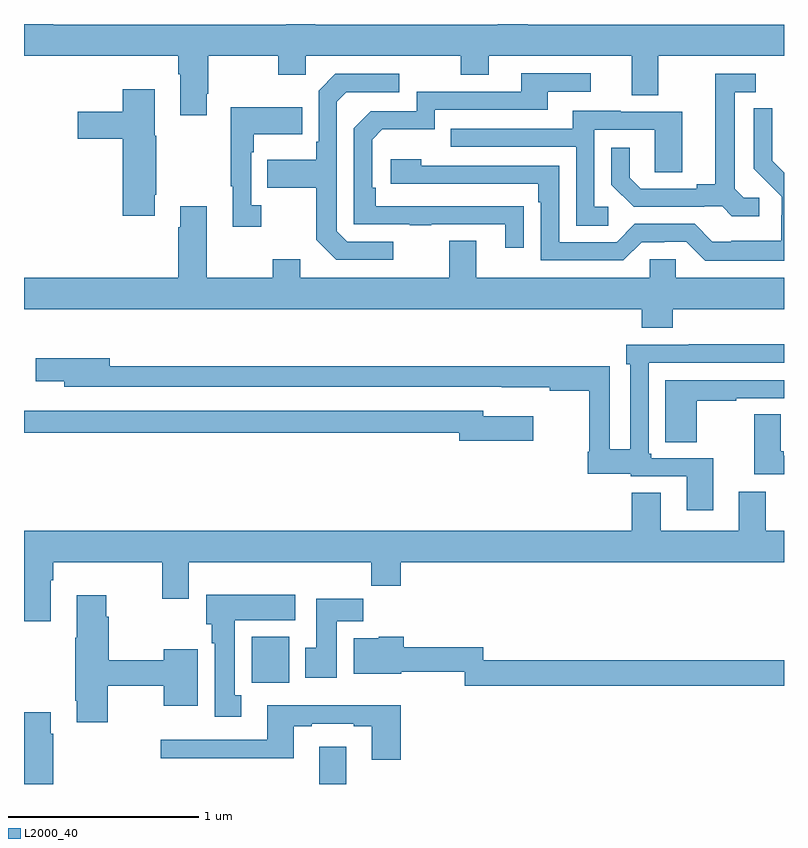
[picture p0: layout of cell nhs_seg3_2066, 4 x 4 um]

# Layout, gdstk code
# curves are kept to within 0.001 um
import gdstk
lib = gdstk.Library(unit=1e-6, precision=1e-09)
def R(c, l, rs):  # rectangles x0, y0, x1, y1
    for r in rs: c.add(gdstk.rectangle(r[:2], r[2:], *l))
def P(c, l, *ps):  # polygons
    for p in ps: c.add(gdstk.Polygon(p, *l))
L2000_40 = (2000, 40)

nhs_seg3_2066 = lib.new_cell('nhs_seg3_2066')
R(nhs_seg3_2066, L2000_40, [(218.555,714.4,218.695,714.595), (218.198,714.932,218.395,715.174)])
P(nhs_seg3_2066, L2000_40, [(217.963,718.033),(217.971,718.033),(217.971,718.232),(218.338,718.232),(218.338,718.133),(218.484,718.133),(218.484,718.232),(219.298,718.232),(219.298,718.133),(219.445,718.133),(219.445,718.232),(220.199,718.232),(220.199,718.024),(220.339,718.024),(220.339,718.232),(221,718.232),(221,718.396),(219.65,718.396),(219.65,718.4),(219.493,718.4),(219.493,718.396),(218.533,718.396),(218.533,718.4),(218.381,718.4),(218.381,718.396),(217.154,718.396),(217.154,718.4),(217,718.4),(217,718.232),(217.811,718.232),(217.811,718.136),(217.823,718.136),(217.823,717.921),(217.963,717.921)],
  [(219.629,717.44),(218.852,717.441),(218.852,717.538),(218.832,717.538),(218.832,717.792),(218.885,717.845),(219.162,717.845),(219.162,717.948),(219.757,717.948),(219.757,718.044),(219.982,718.044),(219.982,718.14),(219.617,718.14),(219.617,718.044),(219.066,718.044),(219.066,717.942),(218.826,717.942),(218.736,717.852),(218.736,717.345),(219.031,717.345),(219.031,717.34),(219.143,717.34),(219.143,717.345),(219.533,717.345),(219.533,717.222),(219.629,717.222)],
  [(220.87,717.486),(220.788,717.486),(220.741,717.533),(220.741,718.041),(220.852,718.041),(220.852,718.137),(220.637,718.137),(220.637,717.557),(220.541,717.557),(220.541,717.534),(220.246,717.534),(220.189,717.591),(220.189,717.748),(220.092,717.748),(220.092,717.554),(220.208,717.438),(220.58,717.438),(220.58,717.441),(220.674,717.441),(220.726,717.389),(220.87,717.389)],
  [(218.944,717.255),(218.7,717.255),(218.646,717.309),(218.646,717.99),(218.697,718.041),(218.974,718.041),(218.974,718.137),(218.637,718.137),(218.55,718.05),(218.55,717.781),(218.538,717.781),(218.538,717.685),(218.281,717.685),(218.281,717.538),(218.538,717.538),(218.538,717.265),(218.643,717.159),(218.944,717.159)],
  [(217.687,717.502),(217.695,717.502),(217.695,717.813),(217.687,717.813),(217.687,718.057),(217.52,718.057),(217.52,717.939),(217.284,717.939),(217.284,717.797),(217.52,717.797),(217.52,717.39),(217.687,717.39)],
  [(218.248,717.446),(218.196,717.446),(218.196,717.725),(218.209,717.725),(218.209,717.821),(218.465,717.821),(218.465,717.961),(218.088,717.961),(218.088,717.545),(218.099,717.545),(218.099,717.333),(218.248,717.333)],
  [(221,717.616),(220.937,717.68),(220.938,717.956),(220.842,717.956),(220.842,717.638),(220.988,717.49),(220.988,717.393),(220.986,717.393),(220.986,717.259),(220.723,717.259),(220.723,717.255),(220.623,717.255),(220.53,717.348),(220.215,717.348),(220.119,717.252),(219.816,717.252),(219.816,717.654),(219.092,717.654),(219.092,717.688),(218.931,717.688),(218.931,717.558),(219.707,717.558),(219.707,717.461),(219.72,717.461),(219.72,717.156),(220.155,717.156),(220.251,717.252),(220.37,717.252),(220.37,717.255),(220.485,717.255),(220.585,717.155),(221,717.155)],
  [(220.075,717.438),(220.002,717.438),(220.002,717.843),(220.32,717.843),(220.32,717.619),(220.465,717.619),(220.465,717.939),(220.141,717.939),(220.141,717.943),(219.887,717.943),(219.887,717.849),(219.247,717.849),(219.247,717.753),(219.906,717.753),(219.906,717.337),(220.075,717.337)],
  [(220.415,716.9),(221,716.9),(221,717.064),(220.431,717.064),(220.431,717.162),(220.293,717.162),(220.293,717.064),(219.379,717.064),(219.379,717.259),(219.239,717.259),(219.239,717.064),(218.455,717.064),(218.455,717.163),(218.308,717.163),(218.308,717.064),(217.963,717.064),(217.963,717.442),(217.823,717.442),(217.823,717.329),(217.811,717.329),(217.811,717.064),(217,717.064),(217,716.9),(220.25,716.9),(220.25,716.801),(220.415,716.801)],
  [(220.627,716.115),(220.302,716.115),(220.302,716.139),(220.287,716.139),(220.287,716.616),(221,716.616),(221,716.714),(220.498,716.714),(220.498,716.712),(220.171,716.712),(220.171,716.609),(220.191,716.609),(220.191,716.162),(220.083,716.162),(220.083,716.599),(217.45,716.599),(217.45,716.641),(217.062,716.641),(217.062,716.519),(217.211,716.519),(217.211,716.49),(219.514,716.49),(219.514,716.489),(219.766,716.489),(219.766,716.47),(219.975,716.47),(219.975,716.149),(219.967,716.149),(219.967,716.034),(220.194,716.034),(220.194,716.019),(220.487,716.019),(220.487,715.842),(220.627,715.842)],
  [(220.54,716.418),(220.748,716.418),(220.748,716.43),(221,716.43),(221,716.526),(220.376,716.526),(220.376,716.2),(220.54,716.2)],
  [(219.679,716.335),(219.418,716.335),(219.418,716.364),(217,716.364),(217,716.248),(219.29,716.248),(219.29,716.206),(219.679,716.206)],
  [(221,716.127),(220.998,716.127),(220.998,716.151),(220.984,716.151),(220.984,716.345),(220.844,716.345),(220.844,716.031),(221,716.031)],
  [(217.141,715.472),(217.154,715.472),(217.154,715.568),(217.727,715.568),(217.727,715.374),(217.867,715.374),(217.867,715.568),(218.827,715.568),(218.827,715.444),(218.984,715.444),(218.984,715.568),(221,715.568),(221,715.732),(220.903,715.732),(220.903,715.939),(220.763,715.939),(220.763,715.732),(220.351,715.732),(220.351,715.934),(220.199,715.934),(220.199,715.732),(217,715.732),(217,715.369),(217.001,715.369),(217.001,715.257),(217.141,715.257)],
  [(218.143,714.866),(218.11,714.866),(218.11,715.262),(218.428,715.262),(218.428,715.396),(217.958,715.396),(217.958,715.242),(217.988,715.242),(217.988,715.142),(218.003,715.142),(218.003,714.753),(218.143,714.753)],
  [(217.44,714.916),(217.736,714.916),(217.736,714.812),(217.915,714.812),(217.915,715.108),(217.736,715.108),(217.736,715.052),(217.445,715.052),(217.445,715.28),(217.432,715.28),(217.432,715.393),(217.277,715.393),(217.277,715.169),(217.27,715.169),(217.27,714.838),(217.277,714.838),(217.277,714.726),(217.44,714.726)],
  [(218.647,715.256),(218.786,715.256),(218.786,715.375),(218.537,715.375),(218.537,715.116),(218.48,715.116),(218.48,714.96),(218.647,714.96)],
  [(221,715.052),(219.417,715.052),(219.417,715.12),(218.999,715.12),(218.999,715.174),(218.868,715.174),(218.868,715.168),(218.735,715.168),(218.735,714.98),(218.986,714.98),(218.986,714.991),(219.321,714.991),(219.321,714.916),(221,714.916)],
  [(218.984,714.814),(218.279,714.814),(218.279,714.633),(217.719,714.633),(217.719,714.536),(218.419,714.536),(218.419,714.705),(218.515,714.705),(218.515,714.717),(218.735,714.717),(218.735,714.705),(218.831,714.705),(218.831,714.528),(218.984,714.528)],
  [(217.141,714.665),(217.141,714.778),(217.001,714.778),(217.001,714.4),(217.154,714.4),(217.154,714.665)])

lib.write_gds('nhs_seg3_2066.gds')
